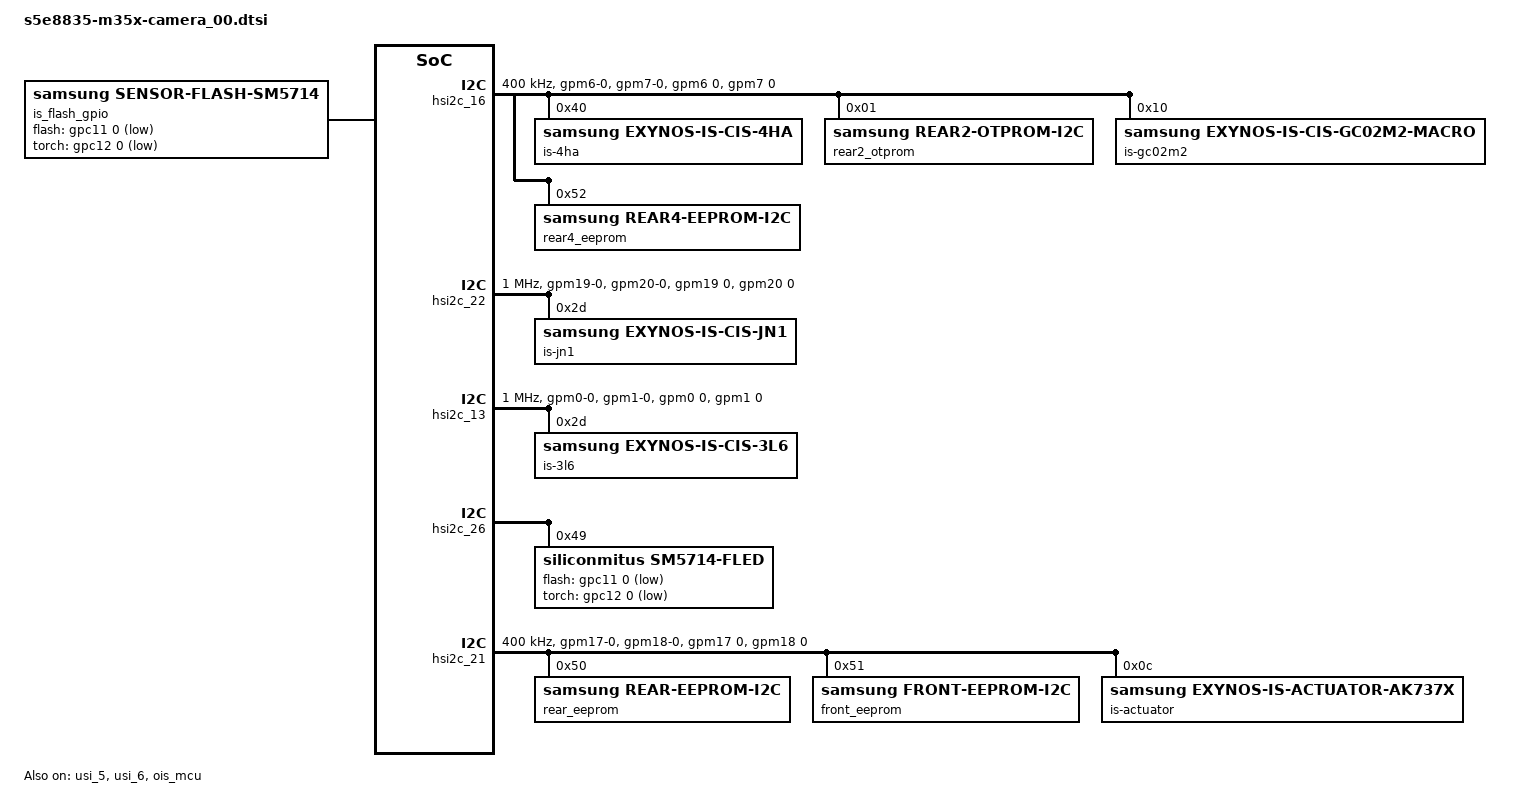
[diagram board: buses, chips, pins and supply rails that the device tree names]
/*
 * Samsung Exynos SoC series Pablo driver
 *
 * Copyright (c) 2024 Samsung Electronics Co., Ltd
 *
 * This program is free software; you can redistribute it and/or modify
 * it under the terms of the GNU General Public License version 2 as
 * published by the Free Software Foundation.
 */

#include <dt-bindings/camera/exynos_is_dt.h>
#include "module_jn1.dtsi"	/* Wide CAMERA */
#include "module_3l6.dtsi"	/* Front CAMERA */
#include "module_4ha.dtsi"	/* UW CAMERA */
#include "module_gc02m2.dtsi"	/* Macro CAMERA */

/ {
	fragment@camera {
		target-path = "/";
		__overlay__ {
			#address-cells = <2>;
			#size-cells = <1>;
			interrupt-parent = <&gic>;

			/* Wide CAMERA */
			is_sensor_jn1: is_sensor_jn1@5A {
				pinctrl-names = "pin0", "pin1", "pin2", "release";
				pinctrl-0 = <>;
				pinctrl-1 = <&sensor_mclk0_out>;
				pinctrl-2 = <&sensor_mclk0_fn>;
				pinctrl-3 = <>;

				/* board */
				position = <0>; /* Rear:0. Front:1, Tele:2 */
				id = <0>; /* is_sensor id */
				mclk_ch = <0>;
				sensor_i2c_ch = <0>; /* SENSOR_CONTROL_I2C0 */

				af {
					product_name = <18>; /* ACTUATOR_NAME_AK737X : ak7371 or ak7374 or ak7377*/
					i2c_ch = <3>; /* SENSOR_CONTROL_I2C3 */
				};

				flash {
					product_name = <20>; /* SM5714 */
				};

				preprocessor {
					product_name = <100>; /* NOTHING */
				};

				mcu {
					product_name = <2>; /* INTERNAL */
				};

				power_seq {
					scenario_normal_on {
						30 { pname = "vdd_ldo22"; pin = <PIN_REGULATOR 1 1000 1800000>; share = <SRT_ACQUIRE SHARED_PIN0 1>; };
					};
					scenario_normal_off {
						90 { pname = "vdd_ldo22"; pin = <PIN_REGULATOR 0 0>; share = <SRT_RELEASE SHARED_PIN0 0>; };
					};
					scenario_vision_on {
						30 { pname = "vdd_ldo22"; pin = <PIN_REGULATOR 1 1000 1800000>; share = <SRT_ACQUIRE SHARED_PIN0 1>; };
					};
					scenario_vision_off {
						90 { pname = "vdd_ldo22"; pin = <PIN_REGULATOR 0 0>; share = <SRT_RELEASE SHARED_PIN0 0>; };
					};
					scenario_ois_factory_on {
						20 { pname = "vdd_ldo22"; pin = <PIN_REGULATOR 1 1000 1800000>; share = <SRT_ACQUIRE SHARED_PIN0 1>; };
					};
					scenario_ois_factory_off {
						40 { pname = "vdd_ldo22"; pin = <PIN_REGULATOR 0 0>; share = <SRT_RELEASE SHARED_PIN0 0>; };
					};
					scenario_read_rom_on {
						10 { pname = "vdd_ldo22"; pin = <PIN_REGULATOR 1 1000 1800000>; share = <SRT_ACQUIRE SHARED_PIN0 1>; };
					};
					scenario_read_rom_off {
						20 { pname = "vdd_ldo22"; pin = <PIN_REGULATOR 0 0>; share = <SRT_RELEASE SHARED_PIN0 0>; };
					};
				};
			};

			/* FRONT CAMERA */
			is_sensor_3l6: is_sensor_3l6@5A {
				pinctrl-names = "pin0", "pin1", "pin2", "release";
				pinctrl-0 = <>;
				pinctrl-1 = <&sensor_mclk1_out>;
				pinctrl-2 = <&sensor_mclk1_fn>;
				pinctrl-3 = <>;

				/* board */
				position = <1>;	/* Rear:0. Front:1. Rear_sub:2. Secure:3. */
				id = <1>; /* is_sensor id */
				mclk_ch = <1>;
				sensor_i2c_ch = <1>; /* SENSOR_CONTROL_I2C1 */

				power_seq {

					scenario_normal_on {
						20 { pname = "UWCAM_MACROCAM_VT_EN"; pin = <PIN_OUTPUT 1 1000>; gpio = <&gpm12 0 0x1>; share = <SRT_ACQUIRE SHARED_PIN1 1>; };
						40 { pname = "vdd_ldo22"; pin = <PIN_REGULATOR 1 1000 1800000>; share = <SRT_ACQUIRE SHARED_PIN0 1>; };
					};
					scenario_normal_off {
						70 { pname = "vdd_ldo22"; pin = <PIN_REGULATOR 0 500>; share = <SRT_RELEASE SHARED_PIN0 0>; };
						90 { pname = "UWCAM_MACROCAM_VT_EN"; pin = <PIN_OUTPUT 0 1000>; gpio = <&gpm12 0 0x1>; share = <SRT_RELEASE SHARED_PIN1 0>; };
					};
					scenario_vision_on {
						20 { pname = "UWCAM_MACROCAM_VT_EN"; pin = <PIN_OUTPUT 1 1000>; gpio = <&gpm12 0 0x1>; share = <SRT_ACQUIRE SHARED_PIN1 1>; };
						40 { pname = "vdd_ldo22"; pin = <PIN_REGULATOR 1 1000 1800000>; share = <SRT_ACQUIRE SHARED_PIN0 1>; };
					};
					scenario_vision_off {
						70 { pname = "vdd_ldo22"; pin = <PIN_REGULATOR 0 500>; share = <SRT_RELEASE SHARED_PIN0 0>; };
						90 { pname = "UWCAM_MACROCAM_VT_EN"; pin = <PIN_OUTPUT 0 1000>; gpio = <&gpm12 0 0x1>; share = <SRT_RELEASE SHARED_PIN1 0>; };
					};
					scenario_read_rom_on {
						10 { pname = "vdd_ldo22"; pin = <PIN_REGULATOR 1 1000 1800000>; share = <SRT_ACQUIRE SHARED_PIN0 1>; };
					};
					scenario_read_rom_off {
						20 { pname = "vdd_ldo22"; pin = <PIN_REGULATOR 0 500>; share = <SRT_RELEASE SHARED_PIN0 0>; };
					};
				};
			};

			/* UW CAMERA */
			is_sensor_4ha: is_sensor_4ha@5A {
				pinctrl-names = "pin0", "pin1", "pin2", "release";
				pinctrl-0 = <>;
				pinctrl-1 = <&sensor_mclk2_out>;
				pinctrl-2 = <&sensor_mclk2_fn>;
				pinctrl-3 = <>;

				/* board */
				position = <4>;	/* Rear:0. Front:1. Rear_sub:2. Secure:3. */
				id = <4>; /* is_sensor id */
				mclk_ch = <2>;
				sensor_i2c_ch = <2>; /* SENSOR_CONTROL_I2C2 */

				power_seq {
					scenario_normal_on {
						20 { pname = "VDD_VT_UW_MACRO_A2P8"; pin = <PIN_OUTPUT 1 0 2800000>; gpio = <&gpm12 0 0x1>; share = <SRT_ACQUIRE SHARED_PIN1 1>; };
						40 { pname = "vdd_ldo22"; pin = <PIN_REGULATOR 1 0 1800000>; share = <SRT_ACQUIRE SHARED_PIN0 1>; };
						70 { pname = "MCLK"; pin = <PIN_MCLK 1 1500>; gpio = <&gpg0 4 0x1>; share = <SRT_ACQUIRE SHARED_PIN2 1>; };
					};
					scenario_normal_off {
						20 { pname = "MCLK"; pin = <PIN_MCLK 0 500>; gpio = <&gpg0 4 0x1>; share = <SRT_RELEASE SHARED_PIN2 0>; };
						70 { pname = "vdd_ldo22"; pin = <PIN_REGULATOR 0 500>; share = <SRT_RELEASE SHARED_PIN0 0>; };
						90 { pname = "VDD_VT_UW_MACRO_A2P8"; pin = <PIN_OUTPUT 0 0>; gpio = <&gpm12 0 0x1>; share = <SRT_RELEASE SHARED_PIN1 0>; };
					};
					scenario_vision_on {
						20 { pname = "VDD_VT_UW_MACRO_A2P8"; pin = <PIN_OUTPUT 1 0 2800000>; gpio = <&gpm12 0 0x1>; share = <SRT_ACQUIRE SHARED_PIN1 1>; };
						40 { pname = "vdd_ldo22"; pin = <PIN_REGULATOR 1 0 1800000>; share = <SRT_ACQUIRE SHARED_PIN0 1>; };
						70 { pname = "MCLK"; pin = <PIN_MCLK 1 1500>; gpio = <&gpg0 4 0x1>; share = <SRT_ACQUIRE SHARED_PIN2 1>; };
					};
					scenario_vision_off {
						20 { pname = "MCLK"; pin = <PIN_MCLK 0 500>; gpio = <&gpg0 4 0x1>; share = <SRT_RELEASE SHARED_PIN2 0>; };
						70 { pname = "vdd_ldo22"; pin = <PIN_REGULATOR 0 500>; share = <SRT_RELEASE SHARED_PIN0 0>; };
						90 { pname = "VDD_VT_UW_MACRO_A2P8"; pin = <PIN_OUTPUT 0 0>; gpio = <&gpm12 0 0x1>; share = <SRT_RELEASE SHARED_PIN1 0>; };
					};
					scenario_read_rom_on {
						20 { pname = "VDD_VT_UW_MACRO_A2P8"; pin = <PIN_OUTPUT 1 0 2800000>; gpio = <&gpm12 0 0x1>; share = <SRT_ACQUIRE SHARED_PIN1 1>; };
						40 { pname = "vdd_ldo22"; pin = <PIN_REGULATOR 1 0 1800000>; share = <SRT_ACQUIRE SHARED_PIN0 1>; };
						70 { pname = "MCLK"; pin = <PIN_MCLK 1 1500>; gpio = <&gpg0 4 0x1>; share = <SRT_ACQUIRE SHARED_PIN2 1>; };
					};
					scenario_read_rom_off {
						20 { pname = "MCLK"; pin = <PIN_MCLK 0 500>; gpio = <&gpg0 4 0x1>; share = <SRT_RELEASE SHARED_PIN2 0>; };
						70 { pname = "vdd_ldo22"; pin = <PIN_REGULATOR 0 500>; share = <SRT_RELEASE SHARED_PIN0 0>; };
						90 { pname = "VDD_VT_UW_MACRO_A2P8"; pin = <PIN_OUTPUT 0 0>; gpio = <&gpm12 0 0x1>; share = <SRT_RELEASE SHARED_PIN1 0>; };
					};
				};
			};

			/* MACRO CAMERA */
			is_sensor_gc02m2_macro: is_sensor_gc02m2_macro@20 {
				pinctrl-names = "pin0", "pin1", "pin2", "release";
				pinctrl-0 = <>;
				pinctrl-1 = <&sensor_mclk2_out>;
				pinctrl-2 = <&sensor_mclk2_fn>;
				pinctrl-3 = <>;

				/* board */
				position = <6>;	/* Rear:0. Front:1. Rear_sub:2. Secure:3. */
				id = <3>; /* is_sensor id */
				mclk_ch = <2>;
				sensor_i2c_ch = <2>; /* SENSOR_CONTROL_I2C2 */

				flash {
					product_name = <20>; /* SM5714 */
				};

				power_seq {
					scenario_normal_on {
						20 { pname = "vdd_ldo22"; pin = <PIN_REGULATOR 1 1000 1800000>; share = <SRT_ACQUIRE SHARED_PIN0 1>; };
						40 { pname = "VDD_VT_UW_MACRO_A2P8"; pin = <PIN_OUTPUT 1 0>; gpio = <&gpm12 0 0x1>; share = <SRT_ACQUIRE SHARED_PIN1 1>; };
						80 { pname = "MCLK"; pin = <PIN_MCLK 1 1500>; gpio = <&gpg0 4 0x1>; share = <SRT_ACQUIRE SHARED_PIN2 1>; };
					};
					scenario_normal_off {
						30 { pname = "vdd_ldo22"; pin = <PIN_REGULATOR 0 500>; share = <SRT_RELEASE SHARED_PIN0 0>; };
						50 { pname = "VDD_VT_UW_MACRO_A2P8"; pin = <PIN_OUTPUT 0 0>; gpio = <&gpm12 0 0x1>; share = <SRT_RELEASE SHARED_PIN1 0>; };
						60 { pname = "MCLK"; pin = <PIN_MCLK 0 500>; gpio = <&gpg0 4 0x1>; share = <SRT_RELEASE SHARED_PIN2 0>; };
					};
					scenario_vision_on {
						20 { pname = "vdd_ldo22"; pin = <PIN_REGULATOR 1 1000 1800000>; share = <SRT_ACQUIRE SHARED_PIN0 1>; };
						40 { pname = "VDD_VT_UW_MACRO_A2P8"; pin = <PIN_OUTPUT 1 0>; gpio = <&gpm12 0 0x1>; share = <SRT_ACQUIRE SHARED_PIN1 1>; };
						80 { pname = "MCLK"; pin = <PIN_MCLK 1 1500>; gpio = <&gpg0 4 0x1>; share = <SRT_ACQUIRE SHARED_PIN2 1>; };
					};
					scenario_vision_off {
						30 { pname = "vdd_ldo22"; pin = <PIN_REGULATOR 0 500>; share = <SRT_RELEASE SHARED_PIN0 0>; };
						50 { pname = "VDD_VT_UW_MACRO_A2P8"; pin = <PIN_OUTPUT 0 0>; gpio = <&gpm12 0 0x1>; share = <SRT_RELEASE SHARED_PIN1 0>; };
						60 { pname = "MCLK"; pin = <PIN_MCLK 0 500>; gpio = <&gpg0 4 0x1>; share = <SRT_RELEASE SHARED_PIN2 0>; };
					};
					scenario_read_rom_on {
						10 { pname = "vdd_ldo22"; pin = <PIN_REGULATOR 1 1000 1800000>; share = <SRT_ACQUIRE SHARED_PIN0 1>; };
					};
					scenario_read_rom_off {
						20 { pname = "vdd_ldo22"; pin = <PIN_REGULATOR 0 500>; share = <SRT_RELEASE SHARED_PIN0 0>; };
					};
				};
			};

			is_flash_gpio: is-flash-gpio@0 {
				compatible = "samsung,sensor-flash-sm5714";
				sensor-module = <&is_sensor_jn1>,<&is_sensor_gc02m2_macro>;
				id = <0 3>;
				led_ch = <1>;
				status = "okay";
				flash-gpio = <&gpc11 0 0x1>;
				torch-gpio = <&gpc12 0 0x1>;
			};

			/* OIS_MCU */
			ois_mcu: ois_mcu@151F0000 {
				compatible = "samsung,sensor-ois-mcu";
				reg = <0x0 0x151F0000 0x10000>, /* OIS MCU (SRAM 56KB) */
					<0x0 0x13900000 0x10000>, /* I2C: USI05_USI */
					<0x0 0x13910000 0x10000>, /* SPI: USI06_USI */
					<0x0 0x10040000 0x1000>, /* PERI setting */
					<0x0 0x15000000 0x10000>; /* CSIS */
				reg-names = "core", "i2c", "spi", "peri", "csis";
				interrupts = <0 INTREQ__OIS_FROM_CM0P IRQ_TYPE_LEVEL_HIGH>;

				id = <0>;
				status = "okay";
				mcu_ctrl_actuator = <0>;
				mcu_skip_video_fastae;

				power-domains = <&pd_csis>;
				clocks = <&clock GATE_OIS_MCU_TOP_QCH>, <&clock DOUT_DIV_CLK_PERI_USI06_USI>;
				clock-names = "user_mux", "ipclk_spi";
			};

			/* dphy_setfile settings taken from A54x */
			dphy_setfile_m35x_1: dphy-setfile_m35x_1@00 {
				comm {
					/* bias */
					0  = <0x1000 0 32 0x00000010 IDX_BIA_VAL 0>; /* M_BIAS_CON0 */
					1  = <0x1004 0 32 0x00000110 IDX_BIA_VAL 0>; /* M_BIAS_CON1 */
					2  = <0x1008 0 32 0x00003223 IDX_BIA_VAL 0>; /* M_BIAS_CON2 */
					3  = <0x1010 0 32 0x00000200 IDX_BIA_VAL 0>; /* M_BIAS_CON4 */
					4  = <0x1114 0 32 0x00000500 IDX_BIA_VAL 0>; /* M_PLL_CON5 */
					5  = <0x1118 0 32 0x00000000 IDX_BIA_VAL 0>; /* M_PLL_CON6 */
					6  = <0x111C 0 32 0x000028A0 IDX_BIA_VAL 0>; /* M_PLL_CON7 */
					7  = <0x1120 0 32 0x00001450 IDX_BIA_VAL 0>; /* M_PLL_CON8 */
					8  = <0x1124 0 32 0x00001208 IDX_BIA_VAL 0>; /* M_PLL_CON9 */

					/* Clock lane */
					9 = <0x0004 0 32 0x000028A0 IDX_FIX_VAL 0>; /* SC_GNR_CON1 */
					10 = <0x0008 0 32 0x00000005 IDX_FIX_VAL 0>; /* SC_ANA_CON0 */
					11 = <0x000C 0 32 0x0000E840 IDX_FIX_VAL 0>; /* SC_ANA_CON1 */
					12 = <0x0010 0 32 0x00000202 IDX_FIX_VAL 0>; /* SC_ANA_CON2 */
					13 = <0x0014 0 32 0x00008600 IDX_FIX_VAL 0>; /* SC_ANA_CON3 */
					14 = <0x0018 0 32 0x00004000 IDX_FIX_VAL 0>; /* SC_ANA_CON4 */
					15 = <0x0030 0 32 0x00000308 IDX_FIX_VAL 0>; /* SC_TIME_CON0 */
					16 = <0x0040 0 32 0x00000000 IDX_FIX_VAL 0>; /* SC_DATA_CON0 */

					/* Enable should be set at last */
					17 = <0x0000 0 32 0x00000001 IDX_FIX_VAL 0>; /* SC_GNR_CON0 */
				};

				lane {
					0  = <0x0004 0 32 0x000028A0 IDX_FIX_VAL 4>; /* SD_GNR_CON1 */
					1  = <0x0008 0 32 0x00000005 IDX_FIX_VAL 4>; /* SD_ANA_CON0 */
					2  = <0x000C 0 32 0x0000E840 IDX_FIX_VAL 4>; /* SD_ANA_CON1 */
					3  = <0x0010 0 32 0x00000202 IDX_FIX_VAL 4>; /* SD_ANA_CON2 */
					4  = <0x0010 8  2 0x00000000 IDX_SKW_DLY 4>; /* SD_ANA_CON2 */
					5  = <0x0014 0 32 0x00008600 IDX_FIX_VAL 4>; /* SD_ANA_CON3 */
					6  = <0x0018 0 32 0x00004000 IDX_FIX_VAL 4>; /* SD_ANA_CON4 */
					7  = <0x0030 0  8 0x00000000 IDX_STL_VAL 4>; /* SD_TIME_CON0 */
					8  = <0x0030 8  1 0x00000000 IDX_STL_CLK 4>; /* SD_TIME_CON0 */
					9  = <0x0034 0 32 0x00000003 IDX_FIX_VAL 4>; /* SD_TIME_CON1 */
					10 = <0x0040 0  1 0x00000001 IDX_SKW_CAL 4>; /* SD_DESKEW_CON0 */
					11 = <0x0050 0 32 0x0000081A IDX_FIX_VAL 4>; /* SD_DESKEW_CON4 */

					/* Enable should be set at last */
					12 = <0x0000 0 32 0x00000001 IDX_FIX_VAL 4>;/* SD_GNR_CON0 */
				};
			};

			dphy_setfile_m35x_2: dphy-setfile_m35x_2@00 {
				comm {
					/* bias */
					0  = <0x1000 0 32 0x00000010 IDX_BIA_VAL 0>; /* M_BIAS_CON0 */
					1  = <0x1004 0 32 0x00000110 IDX_BIA_VAL 0>; /* M_BIAS_CON1 */
					2  = <0x1008 0 32 0x00003223 IDX_BIA_VAL 0>; /* M_BIAS_CON2 */
					3  = <0x1010 0 32 0x00000200 IDX_BIA_VAL 0>; /* M_BIAS_CON4 */
					4  = <0x1114 0 32 0x00000500 IDX_BIA_VAL 0>; /* M_PLL_CON5 */
					5  = <0x1118 0 32 0x00000000 IDX_BIA_VAL 0>; /* M_PLL_CON6 */
					6  = <0x111C 0 32 0x000028A0 IDX_BIA_VAL 0>; /* M_PLL_CON7 */
					7  = <0x1120 0 32 0x00001450 IDX_BIA_VAL 0>; /* M_PLL_CON8 */
					8  = <0x1124 0 32 0x00001208 IDX_BIA_VAL 0>; /* M_PLL_CON9 */

					/* Clock lane */
					9 = <0x0004 0 32 0x000028A0 IDX_FIX_VAL 0>; /* SC_GNR_CON1 */
					10 = <0x0008 0 32 0x00000001 IDX_FIX_VAL 0>; /* SC_ANA_CON0 */
					11 = <0x000C 0 32 0x0000E840 IDX_FIX_VAL 0>; /* SC_ANA_CON1 */
					12 = <0x0010 0 32 0x00000002 IDX_FIX_VAL 0>; /* SC_ANA_CON2 */
					13 = <0x0014 0 32 0x00008600 IDX_FIX_VAL 0>; /* SC_ANA_CON3 */
					14 = <0x0018 0 32 0x00004000 IDX_FIX_VAL 0>; /* SC_ANA_CON4 */
					15 = <0x0030 0 32 0x00000308 IDX_FIX_VAL 0>; /* SC_TIME_CON0 */
					16 = <0x0040 0 32 0x00000000 IDX_FIX_VAL 0>; /* SC_DATA_CON0 */

					/* Enable should be set at last */
					17 = <0x0000 0 32 0x00000001 IDX_FIX_VAL 0>; /* SC_GNR_CON0 */
				};
			};

			dphy_setfile_m54x_4ha: dphy-setfile_m54x_4ha@00 {
				comm {
					/* bias */
					0  = <0x1000 0 32 0x00000010 IDX_BIA_VAL 0>; /* M_BIAS_CON0 */
					1  = <0x1004 0 32 0x00000110 IDX_BIA_VAL 0>; /* M_BIAS_CON1 */
					2  = <0x1008 0 32 0x00003223 IDX_BIA_VAL 0>; /* M_BIAS_CON2 */
					3  = <0x1010 0 32 0x00000200 IDX_BIA_VAL 0>; /* M_BIAS_CON4 */
					4  = <0x1114 0 32 0x00000500 IDX_BIA_VAL 0>; /* M_PLL_CON5 */
					5  = <0x1118 0 32 0x00000000 IDX_BIA_VAL 0>; /* M_PLL_CON6 */
					6  = <0x111C 0 32 0x000028A0 IDX_BIA_VAL 0>; /* M_PLL_CON7 */
					7  = <0x1120 0 32 0x00001450 IDX_BIA_VAL 0>; /* M_PLL_CON8 */
					8  = <0x1124 0 32 0x00001208 IDX_BIA_VAL 0>; /* M_PLL_CON9 */

					/* Clock lane */
					9 = <0x0004 0 32 0x000028A0 IDX_FIX_VAL 0>; /* SC_GNR_CON1 */
					10 = <0x0008 0 32 0x00000001 IDX_FIX_VAL 0>; /* SC_ANA_CON0 */
					11 = <0x000C 0 32 0x0000E840 IDX_FIX_VAL 0>; /* SC_ANA_CON1 */
					12 = <0x0010 0 32 0x00000002 IDX_FIX_VAL 0>; /* SC_ANA_CON2 */
					13 = <0x0014 0 32 0x00008600 IDX_FIX_VAL 0>; /* SC_ANA_CON3 */
					14 = <0x0018 0 32 0x00004000 IDX_FIX_VAL 0>; /* SC_ANA_CON4 */
					15 = <0x0030 0 32 0x00000308 IDX_FIX_VAL 0>; /* SC_TIME_CON0 */
					16 = <0x0040 0 32 0x00000000 IDX_FIX_VAL 0>; /* SC_DATA_CON0 */

					/* Enable should be set at last */
					17 = <0x0000 0 32 0x00000001 IDX_FIX_VAL 0>; /* SC_GNR_CON0 */
				};

				lane {
					0  = <0x0004 0 32 0x000028A0 IDX_FIX_VAL 4>; /* SD_GNR_CON1 */
					1  = <0x0008 0 32 0x00000001 IDX_FIX_VAL 4>; /* SD_ANA_CON0 */
					2  = <0x000C 0 32 0x0000E840 IDX_FIX_VAL 4>; /* SD_ANA_CON1 */
					3  = <0x0010 0 32 0x00000002 IDX_FIX_VAL 4>; /* SD_ANA_CON2 */
					4  = <0x0010 8  2 0x00000000 IDX_SKW_DLY 4>; /* SD_ANA_CON2 */
					5  = <0x0014 0 32 0x00008600 IDX_FIX_VAL 4>; /* SD_ANA_CON3 */
					6  = <0x0018 0 32 0x00004000 IDX_FIX_VAL 4>; /* SD_ANA_CON4 */
					7  = <0x0030 0  8 0x00000000 IDX_STL_VAL 4>; /* SD_TIME_CON0 */
					8  = <0x0030 8  1 0x00000000 IDX_STL_CLK 4>; /* SD_TIME_CON0 */
					9  = <0x0034 0 32 0x00000003 IDX_FIX_VAL 4>; /* SD_TIME_CON1 */
					10 = <0x0040 0  1 0x00000001 IDX_SKW_CAL 4>; /* SD_DESKEW_CON0 */
					11 = <0x0050 0 32 0x0000081A IDX_FIX_VAL 4>; /* SD_DESKEW_CON4 */

					/* Enable should be set at last */
					12 = <0x0000 0 32 0x00000001 IDX_FIX_VAL 4>;/* SD_GNR_CON0 */
				};
			};

			/* Wide CAMERA */
			is_sensor0: is_sensor0@15030000 {
				#address-cells = <1>;
				#size-cells = <1>;
				scenario = <SENSOR_SCENARIO_NORMAL>;	/* Normal, Vision, OIS etc */
				id = <0>;
				csi_ch = <0>;
				status = "okay";
				use_cphy = <0>;

				interrupts = <0 INTREQ__CSIS0 IRQ_TYPE_LEVEL_HIGH>; /*MIPI-CSI0 */
				interrupt-names = "csi";
				phys = <&mipi_phy_csis0_m0s4s4s4s4_s22 0>;
				phy_setfile = <&dphy_setfile>;
				phy_tune_default_mode = "4080 3060 30";
			};

			/* FRONT CAMERA */
			is_sensor1: is_sensor1@15040000 {
				#address-cells = <1>;
				#size-cells = <1>;
				reg = <0x0 0x15050000 0x1000>, /* MIPI-CSI2 */
						<0x0 0x150F0000 0x10000>; /* PHY: M0S4S4S4S4_S22 */
				scenario = <SENSOR_SCENARIO_NORMAL>;	/* Normal, Vision, OIS etc */
				id = <1>;
				csi_ch = <2>;
				status = "okay";
				use_cphy = <0>;

				interrupts = <0 INTREQ__CSIS2 IRQ_TYPE_LEVEL_HIGH>; /* MIPI-CSI2 */
				interrupt-names = "csi";
				phys = <&mipi_phy_csis2_m0s4s4s4s4_s22 0>;
				phy_setfile = <&dphy_setfile_m35x_1>, <&dphy_setfile_m35x_2>;
				phy_tune_default_mode = "4128 3096 30";
			};

			/* Macro CAMERA */
			is_sensor4: is_sensor4@15070000 {
				#address-cells = <1>;
				#size-cells = <1>;
				reg = <0x0 0x15060000 0x1000>, /* MIPI-CSI3 */
						<0x0 0x150F0000 0x10000>; /* PHY: M0S4S4S4S4S2S1 */
				scenario = <SENSOR_SCENARIO_NORMAL>;	/* Normal, Vision, OIS etc */
				id = <3>;
				csi_ch = <3>;
				status = "okay";
				use_cphy = <0>;

				interrupts = <0 INTREQ__CSIS3 IRQ_TYPE_LEVEL_HIGH>; /* MIPI-CSI3 */
				phys = <&mipi_phy_csis3_m0s4s4s4s4_s22 0>;
				phy_setfile = <&dphy_setfile>;
				phy_tune_default_mode = "1600 1200 30";
			};

			/* UW CAMERA */
			is_sensor2: is_sensor2@15050000 {
				#address-cells = <1>;
				#size-cells = <1>;
				reg = <0x0 0x15040000 0x1000>, /* MIPI-CSI1 */
					<0x0 0x150F0000 0x10000>; /* PHY: M0S4S4S4S4_S22 */
				scenario = <SENSOR_SCENARIO_NORMAL>;	/* Normal, Vision, OIS etc */
				id = <4>;
				csi_ch = <1>;
				status = "okay";

				interrupts = <0 INTREQ__CSIS1 IRQ_TYPE_LEVEL_HIGH>; /* MIPI-CSI1 */
				interrupt-names = "csi";
				phys = <&mipi_phy_csis1_m0s4s4s4s4_s22 0>;
				phy_setfile = <&dphy_setfile_m54x_4ha>;
				phy_tune_default_mode = "3264 2448 30";
			};

			is_sensor3: is_sensor3@15060000 {
				status = "disabled";
			};
		}; /* end of __overlay__ */
	}; /* end of fragment */
}; /* end of root */

/***** reference symbol node *****/
/* Ois setting */
&usi_5 {
	usi_v2_mode = "i2c";
	status = "okay";
};

&usi_6 {
	usi_v2_mode = "spi";
	status = "okay";
};

/*
 * [Pin control reference]
 * samsung,pin-function = <0: Input, 1: Output, 2~3: Func>;
 * samsung,pin-pud = <0: NP, 1: PD, 3: PU(2KOhm), 5: PU(0.8KOhm)>;
 * samsung,pin-drv = <0: x1, 1: x2, 2: x3, 3: x4>;
 * samsung,pin-con-pdn = <0: Output0, 1: Output1, 2: Input, 3:Prev>;
 * samsung,pin-pud-pdn = <0: NP, 1: PD, 3: PU>;
 */
 
/* GPIO_PERI */
&pinctrl_1 {
	/* FRONT i2c1 */
	hsi2c13_bus: hsi2c13-bus {
			samsung,pins = "gpm0-0", "gpm1-0";
			samsung,pin-function = <2>;
			samsung,pin-pud = <0>;
			samsung,pin-drv = <0>;
	};

	hsi2c13_bus_in: hsi2c13-bus-in {
			samsung,pins = "gpm0-0", "gpm1-0";
			samsung,pin-function = <0>;
			samsung,pin-pud = <0>;
			samsung,pin-drv = <0>;
	};

	/* UW,MACRO : i2c2 */
	hsi2c16_bus: hsi2c16-bus {
			samsung,pins = "gpm6-0", "gpm7-0";
			samsung,pin-function = <3>;
			samsung,pin-pud = <0>;
			samsung,pin-drv = <0>;
	};

	hsi2c16_bus_in: hsi2c16-bus-in {
			samsung,pins = "gpm6-0", "gpm7-0";
			samsung,pin-function = <0>;
			samsung,pin-pud = <0>;
			samsung,pin-drv = <0>;
	};

	/* REAR Wide : i2c0 */
	hsi2c22_bus: hsi2c22-bus {
			samsung,pins = "gpm19-0", "gpm20-0";
			samsung,pin-function = <3>;
			samsung,pin-pud = <0>;
			samsung,pin-drv = <0>;
	};

	hsi2c22_bus_in: hsi2c22-bus-in {
			samsung,pins = "gpm19-0", "gpm20-0";
			samsung,pin-function = <0>;
			samsung,pin-pud = <0>;
			samsung,pin-drv = <0>;
	};

	/* Wide AF,EEP i2c3 */
	hsi2c21_bus: hsi2c21-bus {
			samsung,pins = "gpm17-0", "gpm18-0";
			samsung,pin-function = <2>;
			samsung,pin-pud = <0>;
			samsung,pin-drv = <0>;
	};

	hsi2c21_bus_in: hsi2c21-bus-in {
			samsung,pins = "gpm17-0", "gpm18-0";
			samsung,pin-function = <0>;
			samsung,pin-pud = <0>;
			samsung,pin-drv = <0>;
	};
};

&pinctrl_3 {
	wide_ois_ldo_en: wide-ois-ldo-en {
		samsung,pins = "gpp1-6";
		samsung,pin-pud = <0>;
		samsung,pin-pud-pdn = <0>;
	};
	wide_ldo_en: wide-ldo-en {
		samsung,pins = "gpp1-7";
		samsung,pin-pud = <0>;
		samsung,pin-pud-pdn = <0>;
	};
};

&hsi2c_16 {
	#address-cells = <1>;
	#size-cells = <0>;
	gpios = <&gpm6 0 0 &gpm7 0 0>;
	status = "okay";
	clock-frequency = <400000>;
	samsung,reset-before-trans;

	pinctrl-names = "default","on_i2c","off_i2c";
	pinctrl-0 = <&hsi2c16_bus_in>;
	pinctrl-1 = <&hsi2c16_bus>;
	pinctrl-2 = <&hsi2c16_bus_in>;

	is-4ha@5A {
		compatible = "samsung,exynos-is-cis-4ha";
		sensor-module = <&is_sensor_4ha>;
		reg = <0x40>; /* 1 bit right shift */
		id = <4>; /* matching is_sensor id */
		setfile = "setB";
		status = "okay";
		rev_reg = <0x0000 2 0x48AB>;
	};

	rear2_otprom@5A { /* UW OTPROM */
		compatible = "samsung,rear2-otprom-i2c";
		reg = <0x01>;

		rom_power_position = <4>;
		rom_size = <0x1AA0>;
		cal_map_es_version = <1>;
		camera_module_es_version = "A";
		/* skip_cal_loading; */

		/* 20220824_A34 5G_CAM2(UW_8M_4HA)_OTP_Rear_Cal map V008.001_QC_LSI_MTK_공용_Map */
		/* 0 header */
		header_crc_check_list	= <0x0000 0x0051 0x0052>;
		/* 0 module */
		crc_check_list	= <0x0056 0x0477 0x0478>;
		/* Master */
		rom_header_version_start_addr	= <0x000A>;
		rom_header_cal_data_start_addr	= <0x0056>;
		rom_header_cal_map_ver_start_addr	= <0x0016>;
		rom_header_project_name_start_addr	= <0x1E>;
		rom_header_module_id_addr	= <0x0036>; /* 0x0030 + reserved bytes */
		rom_header_sensor_id_addr	= <0x0040>;
		rom_awb_master_addr	= <0x0060>;

		/* standard cal */
		use_standard_cal;
		rom_standard_cal_start_addr = <0x0060>;
		rom_standard_cal_end_addr = <0x0A43>;
		rom_standard_cal_sec2lsi_end_addr = <0x1A5F>;
		rom_awb_start_addr = <0x0060>;
		rom_awb_end_addr = <0x0067>;
		rom_shading_start_addr = <0x006A>;
		rom_shading_end_addr = <0x0462>;
		rom_awb_sec2lsi_start_addr = <0x0060>;
		rom_awb_sec2lsi_end_addr = <0x0067>;
		rom_awb_sec2lsi_checksum_addr = <0x006C>;
		rom_awb_sec2lsi_checksum_len = <0xC>;
		rom_shading_sec2lsi_start_addr = <0x0070>;
		rom_shading_sec2lsi_end_addr = <0x1A57>;
		rom_shading_sec2lsi_checksum_addr = <0x1A5C>;
		rom_shading_sec2lsi_checksum_len = <0x19EC>;
	};

	is-gc02m2@20 {
		compatible = "samsung,exynos-is-cis-gc02m2-macro";
		sensor-module = <&is_sensor_gc02m2_macro>;
		reg = <0x10>; /* 1 bit right shift */
		id = <3>; /* matching is_sensor id */
		setfile = "setA";
		status = "okay";
		//rev_reg = <0x0002 2 0xA202>;
		sensor_f_number = <240>;	/* f number 2.4 */
	};

	rear4_eeprom@20 { /* Macro eeprom */
		compatible = "samsung,rear4-eeprom-i2c";
		reg = <0x52>;

		rom_power_position = <6>;
		rom_size = <0x1DC0>;
		cal_map_es_version = <1>;
		camera_module_es_version = "A";
		/* skip_cal_loading; */

		/* 20220317_A04s inHouse_CAM3((Macro_2M_GC02M10-Y0)_EEPROM_Rear_Cal map V008.001_QC_LSI_MTK_공용_Map */
		/* 0 header */
		header_crc_check_list = <0x0000 0x00FB 0x00FC>;
		/* 0 module */
		crc_check_list = <  0x0100 0x019B 0X019C 
			0x01A0 0x01AB 0x01AC
			0x01B0 0x05AB 0x05AC >;
		/* Master */
		rom_header_version_start_addr = <0x5E>;
		rom_header_cal_data_start_addr = <0x00>;
		rom_header_cal_map_ver_start_addr = <0x90>;
		rom_header_project_name_start_addr = <0x98>;
		rom_header_module_id_addr = <0xAE>;
		rom_header_sensor_id_addr = <0xB8>;
		rom_awb_master_addr = <0x01A0>;

		/* standard cal */
		use_standard_cal;
		rom_standard_cal_start_addr = <0x0100>;
		rom_standard_cal_end_addr = <0x05AF>;
		rom_standard_cal_sec2lsi_end_addr = <0x1B9F>;
		rom_awb_start_addr = <0x01A0>;
		rom_awb_end_addr = <0x01A7>;
		rom_shading_start_addr = <0x01B0>;
		rom_shading_end_addr = <0x05A8>;
		rom_factory_start_addr = <0x05B0>;
		rom_factory_end_addr = <0x07CF>;

		rom_awb_sec2lsi_start_addr = <0x01A0>;
		rom_awb_sec2lsi_end_addr = <0x01A7>;
		rom_awb_sec2lsi_checksum_addr = <0x01AC>;
		rom_awb_sec2lsi_checksum_len = <0xC>;
		rom_shading_sec2lsi_start_addr = <0x01B0>;
		rom_shading_sec2lsi_end_addr = <0x1B97>;
		rom_shading_sec2lsi_checksum_addr = <0x1B9C>;
		rom_shading_sec2lsi_checksum_len = <0x19EC>;
		rom_factory_sec2lsi_start_addr = <0x1BA0>;
	};
};

&hsi2c_22 {
	#address-cells = <1>;
	#size-cells = <0>;
	gpios = <&gpm19 0 0 &gpm20 0 0>;
	status = "okay";
	clock-frequency = <1000000>;
	samsung,reset-before-trans;
	samsung,fast-plus-mode;

	pinctrl-names = "default","on_i2c","off_i2c";
	pinctrl-0 = <&hsi2c22_bus_in>;
	pinctrl-1 = <&hsi2c22_bus>;
	pinctrl-2 = <&hsi2c22_bus_in>;

	is-jn1@5A {
		compatible = "samsung,exynos-is-cis-jn1";
		sensor-module = <&is_sensor_jn1>;
		reg = <0x2D>; /* 1 bit right shift */
		id = <0>; /* matching is_sensor id */
		setfile = "setA";
		status = "okay";
		rev_reg = <0x0002 2 0xB100>;
		vendor_use_adaptive_mipi;
		sensor_f_number = <180>;	/* f number 1.8 */
	};
};

&hsi2c_13 {
	#address-cells = <1>;
	#size-cells = <0>;
	gpios = <&gpm0 0 0 &gpm1 0 0>;
	status = "okay";
	clock-frequency = <1000000>;
	samsung,reset-before-trans;
	samsung,fast-plus-mode;

	pinctrl-names = "default","on_i2c","off_i2c";
	pinctrl-0 = <&hsi2c13_bus_in>;
	pinctrl-1 = <&hsi2c13_bus>;
	pinctrl-2 = <&hsi2c13_bus_in>;

	is-3l6@5A {
		compatible = "samsung,exynos-is-cis-3l6";
		sensor-module = <&is_sensor_3l6>;
		reg = <0x2D>; /* 1 bit right shift */
		id = <1>; /* matching is_sensor id */
		setfile = "setA";
		status = "okay";
		rev_reg = <0x0002 1 0xB0>;
		vendor_use_adaptive_mipi;
		sensor_f_number = <220>;	/* f number 2.2 */
	};
};

&hsi2c_26 {
	sm5714-fled@49 {
		compatible = "siliconmitus,sm5714-fled";
		status = "okay";
		reg = <0x49>;
		flash-gpio = <&gpc11 0 0x1>;
		torch-gpio = <&gpc12 0 0x1>;
		flash-brightness = <0xA>; /* 0x0(300mA), 0x1(700mA), 0x2(800mA), 0x3(900mA) ~ 0xF(1500mA) : 50mA Step */
		preflash-brightness = <0x4>;
		torch-brightness = <0x4>; /* 0x0(50mA) ~ 0x7(225mA) : 25mA Step */
		torch-brightness-levels = <0 1 2 5 7>;
		timeout = <0xff>;
	};
};

&hsi2c_21 {
	#address-cells = <1>;
	#size-cells = <0>;
	gpios = <&gpm17 0 0 &gpm18 0 0>;
	status = "okay";
	clock-frequency = <400000>;
	samsung,reset-before-trans;

	pinctrl-names = "default","on_i2c","off_i2c";
	pinctrl-0 = <&hsi2c21_bus_in>;
	pinctrl-1 = <&hsi2c21_bus>;
	pinctrl-2 = <&hsi2c21_bus_in>;

	rear_eeprom@A0 { /* Rear Wide eeprom */
		compatible = "samsung,rear-eeprom-i2c";
		reg = <0x50>;

		rom_power_position = <0>;
		rom_size = <0x5382>;
		cal_map_es_version = <1>;
		camera_module_es_version = "A";
		/* skip_cal_loading;*/

		/* 20220317_A04s inHouse_CAM1(Wide_50M_JN1)_EEPROM_Rear_Cal map V008.001_QC_LSI_MTK_공용_Map */
		/* 0 header */
		header_crc_check_list = <0x0000 0x0103 0x0104>;
		crc_check_list = <  0x01A8 0x2253 0X2254
			0x26D8 0x2723 0x2724
			0x2728 0x2EE3 0x2EE4
			0x3748 0x3763 0x3764 >;
		/* Master */
		rom_header_version_start_addr = <0x76>;
		rom_header_cal_data_start_addr = <0x08>;
		rom_header_cal_map_ver_start_addr = <0x98>;
		rom_header_project_name_start_addr = <0xA0>;
		rom_header_module_id_addr = <0xB6>;
		rom_header_sensor_id_addr = <0xC0>;
		rom_awb_master_addr = <0x3748>;

		/* Rear Crosstalk Cal data */
		rom_xtc_cal_data_start_addr = <0x01A8>;
		rom_xtc_cal_data_size = <0x20AC>;
		rom_xtc_cal_data_addr_list = <0x01A8 0x2253>;
		rear_remosaic_pdxtc_start_addr		= <0x01A8>;
		rear_remosaic_pdxtc_size			= <0x0FA0>;
		rear_remosaic_sw_ggc_start_addr		= <0x1148>;
		rear_remosaic_sw_ggc_size			= <0x0272>;
		rear_remosaic_tetra_xtc_start_addr	= <0x1514>;
		rear_remosaic_tetra_xtc_size		= <0x0A34>;
		rear_remosaic_sensor_xtc_start_addr	= <0x1F48>;
		rear_remosaic_sensor_xtc_size		= <0x0300>;

		rom_af_cal_addr = <0x26E4 0x26D8>; /* AF position <Near Far> */

		/* standard cal */
		use_standard_cal;
		rom_standard_cal_start_addr = <0x0108>;
		rom_standard_cal_end_addr = <0x3B67>;
		rom_standard_cal_sec2lsi_end_addr = <0x5147>;
		rom_awb_start_addr = <0x3748>;
		rom_awb_end_addr = <0x374F>;
		rom_shading_start_addr = <0x3768>;
		rom_shading_end_addr = <0x3B60>;
		rom_factory_start_addr = <0x3B68>;
		rom_factory_end_addr = <0x3DA1>;

		rom_awb_sec2lsi_start_addr = <0x3748>;
		rom_awb_sec2lsi_end_addr = <0x374F>;
		rom_awb_sec2lsi_checksum_addr = <0x3754>;
		rom_awb_sec2lsi_checksum_len = <0xC>;
		rom_shading_sec2lsi_start_addr = <0x3758>;
		rom_shading_sec2lsi_end_addr = <0x513F>;
		rom_shading_sec2lsi_checksum_addr = <0x5144>;
		rom_shading_sec2lsi_checksum_len = <0x19EC>;
		rom_factory_sec2lsi_start_addr = <0x5148>;

		/* sensor ois - xgg ygg xcoef ycoef xsupper ysupper calmark */
		rom_ois_list = <0x0158 0x015C 0x0164 0x0166 0x0180 0x0182 0x0178>;
	};

	front_eeprom@A2 { /* Front eeprom [3L6]*/
		compatible = "samsung,front-eeprom-i2c";
		reg = <0x51>;

		rom_power_position = <1>;
		rom_size = <0x1D00>;
		cal_map_es_version = <1>;
		camera_module_es_version = "A";

		/* 20230714_A35_5G_CAM1(Front_13M_3L6)_EEPROM_Front_Cal map V008.001_QC_LSI_MTK_공용_Map */
		/* 0 header */
		header_crc_check_list = <0x0000 0x0051 0x0052>;

		crc_check_list = < 0x0056 0x0477 0x0478 >;
		/* Master */
		rom_header_version_start_addr = <0x0A>;
		rom_header_cal_data_start_addr = <0x00>;
		rom_header_cal_map_ver_start_addr = <0x16>;
		rom_header_project_name_start_addr = <0x1E>;
		rom_header_module_id_addr = <0x36>;
		rom_header_sensor_id_addr = <0x40>;
		rom_awb_master_addr = <0x0064>;

		/* standard cal */
		use_standard_cal;
		rom_standard_cal_start_addr = <0x64>;
		rom_standard_cal_end_addr = <0x0466>;
		rom_standard_cal_sec2lsi_end_addr = <0x1A63>;
		rom_awb_start_addr = <0x64>;
		rom_awb_end_addr = <0x6B>;
		rom_shading_start_addr = <0x6E>;
		rom_shading_end_addr = <0x0466>;
		rom_factory_start_addr = <0x047C>;
		rom_factory_end_addr = <0x069B>;
		rom_awb_sec2lsi_start_addr = <0x64>;
		rom_awb_sec2lsi_end_addr = <0x6B>;
		rom_awb_sec2lsi_checksum_addr = <0x70>;
		rom_awb_sec2lsi_checksum_len = <0xC>;
		rom_shading_sec2lsi_start_addr = <0x74>;
		rom_shading_sec2lsi_end_addr = <0x1A5B>;
		rom_shading_sec2lsi_checksum_addr = <0x1A60>;
		rom_shading_sec2lsi_checksum_len = <0x19EC>;
		rom_factory_sec2lsi_start_addr = <0x1A64>;
	};

	is-actuator@0C { /* wide AF */
		compatible = "samsung,exynos-is-actuator-ak737x";
		sensor-module = <&is_sensor_jn1>;
		reg = <0x0C>;
		id = <0>; /* matching is_sensor id */
		/* DW9825A: addr 0xF3, data 0x0E */
		vendor_product_id = <0xF3 0x0E 0xF3 0x1E 0xF3 0x19 0xF3 0x13>;
		vendor_first_pos = <960>; /* 12bits */
		vendor_first_delay = <2000>;
		vendor_use_sleep_mode;
		vendor_use_standby_mode; /* with vendor_use_sleep_mode */
		/* delay settings for DW9825A */
		vendor_sleep_to_standby_delay = <2200>;
		vendor_active_to_standby_delay = <300>;
		status = "okay";
	};

};

&exynos_is {
	pinctrl-names = "default";
	pinctrl-0 = <&wide_ois_ldo_en &wide_ldo_en>;

	vender {
		use_module_check;
		use_ois;
		check_sensor_vendor;
		ois_sensor_index = <0>;
		aperture_sensor_index = <0>;
		mcu_sensor_index = <0>;
		skip_cal_loading;

		is_vendor_sensor_count = <4>;
		max_supported_camera = <4>;
		supported_cameraId = <0 1 58 60>;
		ois_gyro_list = <0x00 0x01 0x11>;

		/*
		* Wide(0)
		* Front(1)
		* U Wide(2)
		* Front 80(3) - not available for factory
		* Front Secure(5) - not available for factory
		* DUAL_REAR_PORTRAIT_WIDE(23)
		* Bokeh(52)
		* Rear_UW(58)
		* Macro(60)
		*/

		/* sysfs camera id */
		max_camera_num = <5>;
		sensor_id { /* sensor position = <sensor_id> */
			0 = <72>;	/* S5KJN1 */
			1 = <59>;	/* S5K3L6 */
			4 = <39>;	/* S5K4HA */
			6 = <222>;	/* GC02M2 */
		};

		camera_info0 {			/* 0 : sysfs rear */
			internal_id = <0>;	/* 0 : wide */
			isp = <0>;		/* 0 : INT, 1 : EXT, 2 : SOC */
			cal_memory = <2>;	/* 0 : N, 1 : FROM, 2 : EEPROM, 3 : OTP */
			read_version = <0>;	/* 0 : SYSFS, 1 : CAMON */
			core_voltage = <0>;	/* 0 : N, 1 : Y */
			upgrade = <0>;		/* 0 : N, 1 : SYSFS , 2 : CAMON */
			fw_write = <0>;		/* 0 : N, 1 : OS, 2 : SD, 3 : ALL */
			fw_dump = <0>;		/* 0 : N, 1 : Y */
			companion = <0>;	/* 0 : N, 1 : Y */
			ois = <1>;		/* 0 : N, 1 : Y */
			valid = <1>;		/* 0 : INVALID, 1 : VALID */
		};
		camera_info1 {			/* 1 : sysfs front */
			internal_id = <1>;	/* 1 : front */
			isp = <0>;		/* 0 : INT, 1 : EXT, 2 : SOC */
			cal_memory = <2>;	/* 0 : N, 1 : FROM, 2 : EEPROM, 3 : OTP */
			read_version = <0>;	/* 0 : SYSFS, 1 : CAMON */
			core_voltage = <0>;	/* 0 : N, 1 : Y */
			upgrade = <0>;		/* 0 : N, 1 : SYSFS, 2 : CAMON */
			fw_write = <0>;		/* 0 : N, 1 : OS, 2 : SD, 3 : ALL */
			fw_dump = <0>;		/* 0 : N, 1 : Y */
			companion = <0>;	/* 0 : N, 1 : Y */
			ois = <0>;		/* 0 : N, 1 : Y */
			valid = <1>;		/* 0 : INVALID, 1 : VALID */
		};
		camera_info2 {			/* 2 : sysfs rear2 */
			internal_id = <4>;	/* 2 : ultra wide */
			isp = <0>;		/* 0 : INT, 1 : EXT, 2 : SOC */
			cal_memory = <3>;	/* 0 : N, 1 : FROM, 2 : EEPROM, 3 : OTP */
			read_version = <0>;	/* 0 : SYSFS, 1 : CAMON */
			core_voltage = <0>;	/* 0 : N, 1 : Y */
			upgrade = <0>;		/* 0 : N, 1 : SYSFS, 2 : CAMON */
			fw_write = <0>;		/* 0 : N, 1 : OS, 2 : SD, 3 : ALL */
			fw_dump = <0>;		/* 0 : N, 1 : Y */
			companion = <0>;	/* 0 : N, 1 : Y */
			ois = <0>;		/* 0 : N, 1 : Y */
			valid = <1>;		/* 0 : INVALID, 1 : VALID */
		};
		camera_info4 {			/* 4 : sysfs rear4 */
			internal_id = <6>;	/* 4 : macro */
			isp = <0>;		/* 0 : INT, 1 : EXT, 2 : SOC */
			cal_memory = <2>;	/* 0 : N, 1 : FROM, 2 : EEPROM, 3 : OTP */
			read_version = <0>;	/* 0 : SYSFS, 1 : CAMON */
			core_voltage = <0>;	/* 0 : N, 1 : Y */
			upgrade = <0>;		/* 0 : N, 1 : SYSFS, 2 : CAMON */
			fw_write = <0>;		/* 0 : N, 1 : OS, 2 : SD, 3 : ALL */
			fw_dump = <0>;		/* 0 : N, 1 : Y */
			companion = <0>;	/* 0 : N, 1 : Y */
			ois = <0>;		/* 0 : N, 1 : Y */
			valid = <1>;		/* 0 : INVALID, 1 : VALID */
		};
	};

	is_dvfs {
		#define CPU_CL0	"0-3"
		#define CPU_CL1	"4-7"
		#define CPU_ALL	"0-7"

		table0 {
			desc = "dvfs table v0.2";

			default_csis = <1>;
			default_cam = <1>;
			default_isp = <1>;
			default_m2m = <1>;
			default_mif = <1>;
			default_int = <1>;
			default_cpu = CPU_CL0;

			rear_single_photo_isp = <6>;
			rear_single_photo_mif = <3>;
			rear_single_photo_cpu = CPU_CL0;

			rear_single_photo_full_mif = <3>;
			rear_single_photo_full_cpu = CPU_CL0;

			rear_single_video_hd30_isp = <5>;
			rear_single_video_hd30_mif = <3>;
			rear_single_video_hd30_cpu = CPU_CL0;

			rear_single_video_fhd30_isp = <5>;
			rear_single_video_fhd30_mif = <3>;
			rear_single_video_fhd30_cpu = CPU_CL0;

			rear_single_video_fhd60_isp = <3>;
			rear_single_video_fhd60_mif = <0>;
			rear_single_video_fhd60_cpu = CPU_CL0;

			rear_single_video_uhd30_isp = <5>;
			rear_single_video_uhd30_mif = <1>;
			rear_single_video_uhd30_cpu = CPU_CL0;

			rear_single_capture_cam = <1>;
			rear_single_capture_isp = <1>;
			rear_single_capture_mif = <0>;
			rear_single_capture_cpu = CPU_CL0;

			rear_single_video_fhd120_isp = <0>;
			rear_single_video_fhd120_m2m = <0>;
			rear_single_video_fhd120_mif = <0>;
			rear_single_video_fhd120_cpu = CPU_CL0;

			rear_single_video_hd240_isp = <6>;
			rear_single_video_hd240_m2m = <4>;
			rear_single_video_hd240_mif = <0>;
			rear_single_video_hd240_cpu = CPU_CL0;

			rear_single_ssm_isp = <6>;
			rear_single_ssm_m2m = <4>;
			rear_single_ssm_mif = <0>;
			rear_single_ssm_hpg = <6>;
			rear_single_ssm_cpu = CPU_CL0;

			rear_single_vt_isp = <5>;
			rear_single_vt_mif = <3>;
			rear_single_vt_cpu = CPU_CL0;

			rear_single_video_fhd30_supersteady_isp = <0>;
			rear_single_video_fhd30_supersteady_mif = <0>;
			rear_single_video_fhd30_supersteady_cpu = CPU_CL0;

			rear_single_remosaic_photo_isp = <6>;
			rear_single_remosaic_photo_mif = <3>;
			rear_single_remosaic_photo_cpu = CPU_CL0;

			rear_single_remosaic_capture_cam = <1>;
			rear_single_remosaic_capture_isp = <1>;
			rear_single_remosaic_capture_m2m = <4>;
			rear_single_remosaic_capture_mif = <0>;
			rear_single_remosaic_capture_cpu = CPU_CL0;

			rear_dual_wide_tele_photo_isp = <0>;
			rear_dual_wide_tele_photo_mif = <0>;
			rear_dual_wide_tele_photo_cpu = CPU_CL0;

			rear_dual_wide_tele_video_fhd30_isp = <0>;
			rear_dual_wide_tele_video_fhd30_mif = <0>;
			rear_dual_wide_tele_video_fhd30_cpu = CPU_CL0;

			rear_dual_wide_tele_video_uhd30_isp = <0>;
			rear_dual_wide_tele_video_uhd30_mif = <0>;
			rear_dual_wide_tele_video_uhd30_cpu = CPU_CL0;

			rear_dual_wide_tele_video_fhd60_isp = <0>;
			rear_dual_wide_tele_video_fhd60_mif = <0>;
			rear_dual_wide_tele_video_fhd60_cpu = CPU_CL0;

			rear_dual_wide_tele_capture_cam = <0>;
			rear_dual_wide_tele_capture_isp = <0>;
			rear_dual_wide_tele_capture_m2m = <0>;
			rear_dual_wide_tele_capture_mif = <0>;
			rear_dual_wide_tele_capture_cpu = CPU_CL0;

			rear_dual_wide_ultrawide_photo_isp = <3>;
			rear_dual_wide_ultrawide_photo_mif = <0>;
			rear_dual_wide_ultrawide_photo_cpu = CPU_CL0;

			rear_dual_wide_ultrawide_video_fhd30_isp = <0>;
			rear_dual_wide_ultrawide_video_fhd30_mif = <0>;
			rear_dual_wide_ultrawide_video_fhd30_cpu = CPU_CL0;

			rear_dual_wide_ultrawide_video_uhd30_isp = <0>;
			rear_dual_wide_ultrawide_video_uhd30_mif = <0>;
			rear_dual_wide_ultrawide_video_uhd30_cpu = CPU_CL0;

			rear_dual_wide_ultrawide_video_fhd60_isp = <0>;
			rear_dual_wide_ultrawide_video_fhd60_mif = <0>;
			rear_dual_wide_ultrawide_video_fhd60_cpu = CPU_CL0;

			rear_dual_wide_ultrawide_capture_cam = <1>;
			rear_dual_wide_ultrawide_capture_isp = <1>;
			rear_dual_wide_ultrawide_capture_m2m = <4>;
			rear_dual_wide_ultrawide_capture_mif = <0>;
			rear_dual_wide_ultrawide_capture_cpu = CPU_CL0;

			front_single_photo_isp = <6>;
			front_single_photo_mif = <3>;
			front_single_photo_cpu = CPU_CL0;

			front_single_photo_full_mif = <3>;
			front_single_photo_full_cpu = CPU_CL0;

			front_single_video_hd30_isp = <6>;
			front_single_video_hd30_mif = <3>;
			front_single_video_hd30_cpu = CPU_CL0;

			front_single_video_fhd30_isp = <6>;
			front_single_video_fhd30_mif = <3>;
			front_single_video_fhd30_cpu = CPU_CL0;

			front_single_video_uhd30_isp = <6>;
			front_single_video_uhd30_mif = <1>;
			front_single_video_uhd30_cpu = CPU_CL0;

			front_single_video_fhd60_isp = <5>;
			front_single_video_fhd60_mif = <0>;
			front_single_video_fhd60_cpu = CPU_CL0;

			front_single_capture_csis = <5>;
			front_single_capture_cam = <1>;
			front_single_capture_isp = <1>;
			front_single_capture_m2m = <4>;
			front_single_capture_mif = <0>;
			front_single_capture_cpu = CPU_CL0;

			front_single_vt_isp = <5>;
			front_single_vt_mif = <3>;
			front_single_vt_cpu = CPU_CL0;

			front_single_video_hd120_isp = <2>;
			front_single_video_hd120_m2m = <4>;
			front_single_video_hd120_mif = <0>;
			front_single_video_hd120_hpg = <0>;
			front_single_video_hd120_cpu = CPU_CL0;

			front_single_remosaic_photo_isp = <6>;
			front_single_remosaic_photo_mif = <3>;
			front_single_remosaic_photo_cpu = CPU_CL0;

			front_single_remosaic_capture_cam = <1>;
			front_single_remosaic_capture_isp = <1>;
			front_single_remosaic_capture_m2m = <4>;
			front_single_remosaic_capture_mif = <0>;
			front_single_remosaic_capture_cpu = CPU_CL0;

			rear_single_wide_fastae_cam = <5>;
			rear_single_wide_fastae_isp = <5>;
			rear_single_wide_fastae_m2m = <4>;
			rear_single_wide_fastae_mif = <1>;
			rear_single_wide_fastae_cpu = CPU_CL0;

			front_single_fastae_cam = <5>;
			front_single_fastae_csis = <5>;
			front_single_fastae_isp = <5>;
			front_single_fastae_m2m = <4>;
			front_single_fastae_mif = <1>;
			front_single_fastae_cpu = CPU_CL0;

			pip_dual_photo_isp = <0>;
			pip_dual_photo_mif = <0>;
			pip_dual_photo_cpu = CPU_CL0;

			pip_dual_capture_cam = <0>;
			pip_dual_capture_isp = <0>;
			pip_dual_capture_m2m = <0>;
			pip_dual_capture_mif = <0>;
			pip_dual_capture_cpu = CPU_CL0;

			pip_dual_video_fhd30_isp = <0>;
			pip_dual_video_fhd30_mif = <0>;
			pip_dual_video_fhd30_cpu = CPU_CL0;

			sensor_only_rear_single_cam = <1>;
			sensor_only_rear_single_csis = <1>;
			sensor_only_rear_single_isp = <1>;
			sensor_only_rear_single_m2m = <1>;
			sensor_only_rear_single_mif = <1>;
			sensor_only_rear_single_int = <1>;
			sensor_only_rear_single_cpu = CPU_CL0;

			sensor_only_front_cam = <1>;
			sensor_only_front_csis = <1>;
			sensor_only_front_isp = <1>;
			sensor_only_front_m2m = <1>;
			sensor_only_front_mif = <1>;
			sensor_only_front_int = <1>;
			sensor_only_front_cpu = CPU_CL0;

			throttling_cam = <0>;
			throttling_csis = <0>;
			throttling_isp = <0>;
			throttling_m2m = <0>;
			throttling_mif = <0>;
			throttling_int = <0>;
			throttling_hpg = <0>;
			throttling_cpu = CPU_CL0;

			max_cam = <1>;
			max_csis = <1>;
			max_isp = <1>;
			max_m2m = <1>;
			max_mif = <1>;
			max_int = <1>;
			max_cpu = CPU_CL0;
		};
	};
};

